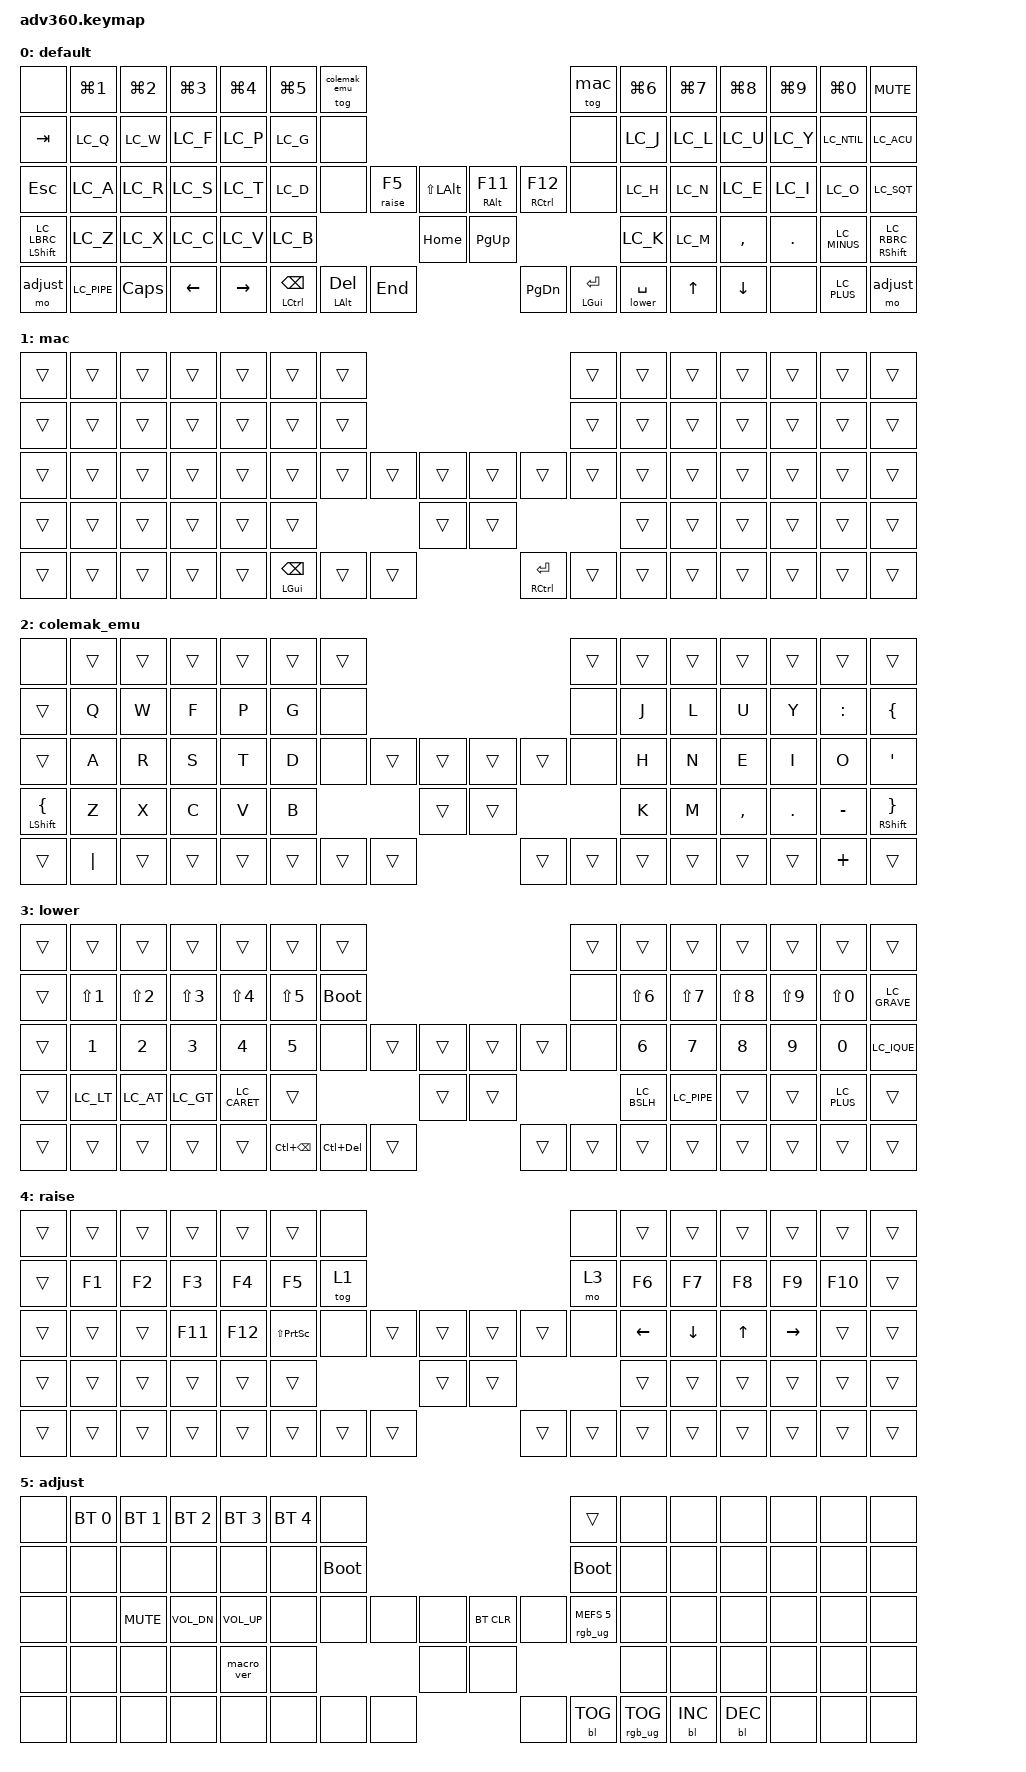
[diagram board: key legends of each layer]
#include <behaviors.dtsi>
#include <dt-bindings/zmk/keys.h>
#include <dt-bindings/zmk/bt.h>
#include <dt-bindings/zmk/rgb.h>
#include <dt-bindings/zmk/backlight.h>
#include "./latam_colemak.h"

#define default 0
#define colemak_emu 1
#define mac 2
#define lower 3
#define raise 4
#define adjust 5


// https://zmk.dev/docs/keymaps/behaviors/mod-tap
&mt {
    quick_tap_ms = <150>;
};
&lt {
    quick_tap_ms = <150>;
};

/ {
    // https://zmk.dev/docs/keymaps/behaviors
    // https://zmk.dev/docs/keymaps/behaviors/mod-morph
    behaviors {
      #include "macros.dtsi"
      #include "version.dtsi"
      #ifndef VERSION_MACRO
      macro_ver: macro_ver {
        compatible = "zmk,behavior-macro";
        label = "macro_version";
        #binding-cells = <0>;
        bindings = <&kp RET>;
      };
      #endif

      //https://zmk.dev/docs/keymaps/behaviors/hold-tap#hold-tap
      hm: homerow_mods {
          compatible = "zmk,behavior-hold-tap";
          label = "HOMEROW_MODS";
          #binding-cells = <2>;
          tapping-term-ms = <200>;
          quick_tap_ms = <175>;  
          flavor = "tap-preferred";
          bindings = <&kp>, <&kp>;
      };
    };

  keymap {
    compatible = "zmk,keymap";
    // NOTE:
    // you only need to flash the left keyboard
    // flash guide
    // https://www.youtube.com/watch?v=IDayf7YPLsg

    // list of keycodes
    // https://zmk.dev/docs/keymaps/list-of-keycodes
     
    // modifiers
    // https://zmk.dev/docs/keymaps/modifiers

    //NOTE: keycodes
    // https://zmk.dev/docs/keymaps/list-of-keycodes

    default {
      bindings = <
        &none             &kp LG(N1)     &kp LG(N2) &kp LG(N3) &kp LG(N4) &kp LG(N5) &tog colemak_emu                                                                                  &tog mac &kp LG(N6) &kp LG(N7) &kp LG(N8) &kp LG(N9) &kp LG(N0)   &kp C_MUTE
        &kp TAB           &kp LC_Q       &kp LC_W   &kp LC_F   &kp LC_P   &kp LC_G   &none                                                                                             &none    &kp LC_J   &kp LC_L   &kp LC_U   &kp LC_Y   &kp LC_NTIL  &kp LC_ACU 
        &kp ESC           &kp LC_A       &kp LC_R   &kp LC_S   &kp LC_T   &kp LC_D   &none                        &lt raise F5 &kp LS(LALT) &mt RALT F11  &mt RCTRL F12                &none    &kp LC_H   &kp LC_N   &kp LC_E   &kp LC_I   &kp LC_O     &kp LC_SQT
        &mt LSHFT LC_LBRC &kp LC_Z       &kp LC_X   &kp LC_C   &kp LC_V   &kp LC_B                                             &kp HOME     &kp PG_UP                                           &kp LC_K   &kp LC_M   &kp COMMA  &kp DOT    &kp LC_MINUS &mt RSHFT LC_RBRC
        &mo adjust        &kp LC_PIPE    &kp CAPS   &kp LEFT   &kp RIGHT                          &mt LCTRL BSPC &mt LALT DEL  &kp END      &kp PG_DN &mt LGUI ENTER &lt lower SPACE                       &kp UP     &kp DOWN   &none      &kp LC_PLUS  &mo adjust
      >;
    };
    mac {
      bindings = <
        &trans &trans &trans &trans &trans &trans &trans                                                              &trans &trans &trans &trans &trans &trans &trans
        &trans &trans &trans &trans &trans &trans &trans                                                              &trans &trans &trans &trans &trans &trans &trans
        &trans &trans &trans &trans &trans &trans &trans                &trans &trans &trans &trans                   &trans &trans &trans &trans &trans &trans &trans 
        &trans &trans &trans &trans &trans &trans                            &trans &trans                                   &trans &trans &trans &trans &trans &trans
        &trans &trans &trans &trans &trans                 &mt LGUI BSPC &trans &trans &mt RCTRL ENTER &trans &trans                &trans &trans &trans &trans &trans
      >;
    };
    colemak_emu {
      bindings = <
        &none          &trans   &trans &trans &trans &trans &trans                                                         &trans   &trans &trans &trans    &trans  &trans     &trans
        &trans         &kp Q    &kp W  &kp F  &kp P  &kp G  &none                                                          &none    &kp J  &kp L  &kp U     &kp Y   &kp COLON  &kp LBRC
        &trans         &kp A    &kp R  &kp S  &kp T  &kp D  &none                        &trans &trans &trans  &trans      &none    &kp H  &kp N  &kp E     &kp I   &kp O      &kp QUOT
        &mt LSHFT LBRC &kp Z    &kp X  &kp C  &kp V  &kp B                                      &trans &trans                       &kp K  &kp M  &kp COMMA &kp DOT &kp MINUS  &mt RSHFT RBRC
        &trans         &kp PIPE &trans &trans &trans                          &trans &trans &trans  &trans &trans &trans                   &trans &trans    &trans  &kp PLUS   &trans
      >;
    };
    lower {
      bindings = <
        &trans &trans     &trans     &trans     &trans       &trans     &trans                                                              &trans &trans      &trans      &trans     &trans     &trans      &trans
        &trans &kp LS(N1) &kp LS(N2) &kp LS(N3) &kp LS(N4)   &kp LS(N5) &bootloader                                                         &none  &kp LS(N6)  &kp LS(N7)  &kp LS(N8) &kp LS(N9) &kp LS(N0)  &kp LC_GRAVE
        &trans &kp N1     &kp N2     &kp N3     &kp N4       &kp N5     &none               &trans &trans &trans &trans                     &none  &kp N6      &kp N7      &kp N8     &kp N9     &kp N0      &kp LC_IQUE
        &trans &kp LC_LT  &kp LC_AT  &kp LC_GT  &kp LC_CARET &trans                                &trans &trans                                   &kp LC_BSLH &kp LC_PIPE &trans     &trans     &kp LC_PLUS &trans
        &trans &trans     &trans     &trans     &trans                           &kp LC(BSPC) &kp LC(DEL) &trans &trans &trans &trans                          &trans      &trans     &trans     &trans      &trans
      >;
    };
    raise {
      bindings = <
        &trans &trans &trans &trans  &trans  &trans        &none                                                  &none &trans   &trans   &trans &trans    &trans  &trans
        &trans &kp F1 &kp F2 &kp F3  &kp F4  &kp F5        &tog 1                                                 &mo 3 &kp F6   &kp F7   &kp F8 &kp F9    &kp F10 &trans
        &trans &trans &trans &kp F11 &kp F12 &kp LS(PSCRN) &none           &trans &trans &trans &trans            &none &kp LEFT &kp DOWN &kp UP &kp RIGHT &trans  &trans
        &trans &trans &trans &trans &trans   &trans                               &trans &trans                         &trans   &trans   &trans &trans    &trans  &trans
        &trans &trans &trans &trans &trans                          &trans &trans &trans &trans &trans &trans                    &trans   &trans &trans    &trans  &trans
      >;
    };
    adjust {
      bindings = <
        &none &bt BT_SEL 0 &bt BT_SEL 1 &bt BT_SEL 2 &bt BT_SEL 3 &bt BT_SEL 4 &none                                                               &trans                 &none &none &none &none &none &none
        &none &none        &none        &none        &none        &none        &bootloader                                                         &bootloader            &none &none &none &none &none &none
        &none &none        &kp C_MUTE   &kp C_VOL_DN &kp C_VOL_UP &none        &none                &none &none &bt BT_CLR &none                   &rgb_ug RGB_MEFS_CMD 5 &none &none &none &none &none &none
        &none &none        &none        &none        &macro_ver   &none                                     &none &none                                                   &none &none &none &none &none &none
        &none &none        &none        &none        &none                                   &none &none &none &none  &bl BL_TOG &rgb_ug RGB_TOG                  &bl BL_INC   &bl BL_DEC   &none &none &none
      >;
    };
    // default_layer {
    //   bindings = <
    //     &kp EQUAL &kp N1    &kp N2   &kp N3   &kp N4     &kp N5 &tog 1                                                           &mo 3 &kp N6 &kp N7 &kp N8    &kp N9   &kp N0   &kp MINUS
    //     &kp TAB   &kp Q     &kp W    &kp E    &kp R      &kp T  &none                                                            &none &kp Y  &kp U  &kp I     &kp O    &kp P    &kp BSLH
    //     &kp ESC   &kp A     &kp S    &kp D    &kp F      &kp G  &none           &kp LCTRL &kp LALT &kp LGUI  &kp RCTRL           &none &kp H  &kp J  &kp K     &kp L    &kp SEMI &kp SQT
    //     &kp LSHFT &kp Z     &kp X    &kp C    &kp V      &kp B                            &kp HOME &kp PG_UP                           &kp N  &kp M  &kp COMMA &kp DOT  &kp FSLH &kp RSHFT
    //     &mo 2     &kp GRAVE &kp CAPS &kp LEFT &kp RIGHT                &kp BSPC &kp DEL   &kp END  &kp PG_DN &kp ENTER &kp SPACE              &kp UP &kp DOWN  &kp LBKT &kp RBKT &mo 2
    //   >;
    // };
    // keypad {
    //   bindings = <
    //     &kp EQUAL &kp N1    &kp N2   &kp N3   &kp N4     &kp N5 &trans                                                           &mo 3 &kp N6 &kp KP_NUM &kp KP_EQUAL &kp KP_DIVIDE &kp KP_MULTIPLY &kp MINUS
    //     &kp TAB   &kp Q     &kp W    &kp E    &kp R      &kp T  &none                                                            &none &kp Y  &kp KP_N7  &kp KP_N8    &kp KP_N9     &kp KP_MINUS    &kp BSLH
    //     &kp ESC   &kp A     &kp S    &kp D    &kp F      &kp G  &none           &kp LCTRL &kp LALT &kp LGUI  &kp RCTRL           &none &kp H  &kp KP_N4  &kp KP_N5    &kp KP_N6     &kp KP_PLUS     &kp SQT
    //     &kp LSHFT &kp Z     &kp X    &kp C    &kp V      &kp B                            &kp HOME &kp PG_UP                           &kp N  &kp KP_N1  &kp KP_N2    &kp KP_N3     &kp KP_ENTER    &kp RSHFT
    //     &mo 2     &kp GRAVE &kp CAPS &kp LEFT &kp RIGHT                &kp BSPC &kp DEL   &kp END  &kp PG_DN &kp ENTER &kp KP_N0              &kp UP     &kp DOWN     &kp KP_DOT    &kp RBKT        &mo 2
    //   >;
    // };
    // fn {
    //   bindings = <
    //     &kp F1 &kp F2 &kp F3 &kp F4 &kp F5 &kp F6 &tog 1                                           &mo 3 &kp F7 &kp F8 &kp F9 &kp F10 &kp F11 &kp F12
    //     &trans &trans &trans &trans &trans &trans  &none                                           &none &trans &trans &trans &trans  &trans  &trans
    //     &trans &trans &trans &trans &trans &trans  &none        &trans &trans &trans &trans        &none &trans &trans &trans &trans  &trans  &trans
    //     &trans &trans &trans &trans &trans &trans                      &trans &trans                     &trans &trans &trans &trans  &trans  &trans
    //     &trans &trans &trans &trans &trans               &trans &trans &trans &trans &trans &trans              &trans &trans &trans  &trans  &trans
    //   >;
    // };
  };
};
